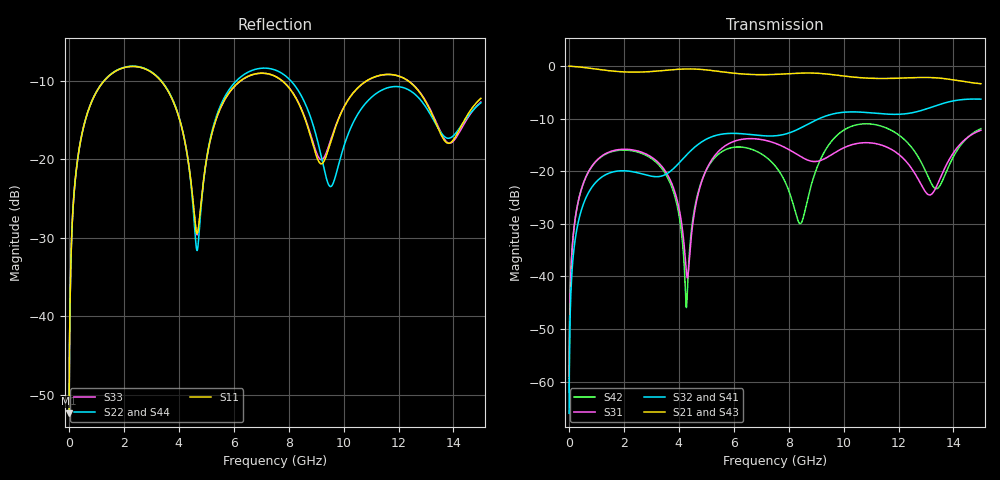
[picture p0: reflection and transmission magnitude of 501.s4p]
! Created with skrf 1.8.0 (http://scikit-rf.org).
# GHz S RI R 50.0
!freq ReS11 ImS11 ReS12 ImS12 ReS13 ImS13
! ReS14 ImS14
! ReS21 ImS21 ReS22 ImS22 ReS23 ImS23
! ReS24 ImS24
! ReS31 ImS31 ReS32 ImS32 ReS33 ImS33
! ReS34 ImS34
! ReS41 ImS41 ReS42 ImS42 ReS43 ImS43
! ReS44 ImS44
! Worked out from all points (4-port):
!   2499 points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, 5 MHz to 15 GHz, reference 50 ohm
!   strongest paths, dB at 5 MHz, 3.476 GHz, 7.19 GHz, 11.1 GHz, 15 GHz:
!     S21: 0.0, -0.8, -1.6, -2.3, -3.4
!     S43: 0.0, -0.8, -1.6, -2.3, -3.3
!     S32: -66.0, -20.7, -13.3, -8.9, -6.3
!     S41: -66.0, -20.8, -13.4, -9.0, -6.4
!     S31: -62.0, -19.7, -14.2, -14.7, -12.2
!     S42: -62.0, -20.2, -17.4, -11.1, -11.9
!   lowest |S11| = -52.4 dB at 5 MHz (marker M1), VSWR 1.00, Z = 50.2 + j0.146 ohm
!   |S11| at or under -10 dB: 3.349 GHz to 6.247 GHz (2.898 GHz wide, 60.4 % of centre); 7.762 GHz to 10.84 GHz (3.081 GHz wide, 33.1 % of centre); 12.35 GHz to end of sweep (the widest 3 of 4)
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0.005  0.00192 0.00146  0.998 -0.00374  9.83e-05 0.000785  -9.52e-05 -0.000489
       0.998 -0.00374  0.00192 0.00146  -9.52e-05 -0.000489  9.81e-05 0.000785
       9.83e-05 0.000785  -9.52e-05 -0.000489  0.00192 0.00146  0.998 -0.00374
       -9.52e-05 -0.000489  9.81e-05 0.000785  0.998 -0.00374  0.00192 0.00146
0.3126303  0.0314 0.0942  0.9568 -0.2308  0.0154 0.0456  -0.0125 -0.0278
           0.9568 -0.2308  0.0315 0.0942  -0.0125 -0.0278  0.0149 0.0457
           0.0154 0.0456  -0.0125 -0.0278  0.0314 0.0942  0.9568 -0.2308
           -0.0125 -0.0278  0.0149 0.0457  0.9568 -0.2308  0.0315 0.0942
1.3193  0.2684 0.1777  0.5511 -0.7271  0.133 0.0606  -0.0919 -0.00659
        0.5511 -0.7271  0.2698 0.1768  -0.092 -0.00647  0.1284 0.0667
        0.133 0.0606  -0.092 -0.00647  0.2683 0.1778  0.5511 -0.7271
        -0.0919 -0.00659  0.1284 0.0667  0.5511 -0.7271  0.2699 0.1767
4.276782  0.0587 -0.0988  -0.8821 -0.3213  -0.00946 -0.00549  -0.0452 0.135
          -0.8821 -0.3213  0.0518 -0.1023  -0.0436 0.1355  -0.00496 -0.000943
          -0.00946 -0.00549  -0.0436 0.1355  0.0584 -0.0992  -0.8821 -0.3213
          -0.0452 0.135  -0.00496 -0.000943  -0.8821 -0.3213  0.0523 -0.1025
5.339725  0.1145 0.1342  -0.8264 0.3509  0.1094 0.0935  0.111 0.1878
          -0.8264 0.3509  0.113 0.142  0.1134 0.187  0.0828 0.1093
          0.1094 0.0935  0.1134 0.187  0.113 0.1343  -0.8263 0.351
          0.111 0.1878  0.0828 0.1093  -0.8263 0.351  0.1145 0.1416
9.397666  0.1013 0.0396  0.8333 0.1054  -0.0872 0.1035  0.0405 -0.3362
          0.8333 0.1054  0.064 -0.0355  0.032 -0.3365  0.0826 0.1467
          -0.0872 0.1035  0.032 -0.3365  0.1068 0.038  0.8332 0.1049
          0.0405 -0.3362  0.0826 0.1467  0.8332 0.1049  0.0605 -0.0359
15  0.2387 0.0529  -0.6411 0.2256  0.1786 0.1683  0.2209 0.427
    -0.6411 0.2256  0.2223 0.0547  0.2363 0.4232  0.187 0.1719
    0.1786 0.1683  0.2363 0.4232  0.2268 0.046  -0.6415 0.2274
    0.2209 0.427  0.187 0.1719  -0.6415 0.2274  0.2299 0.05
